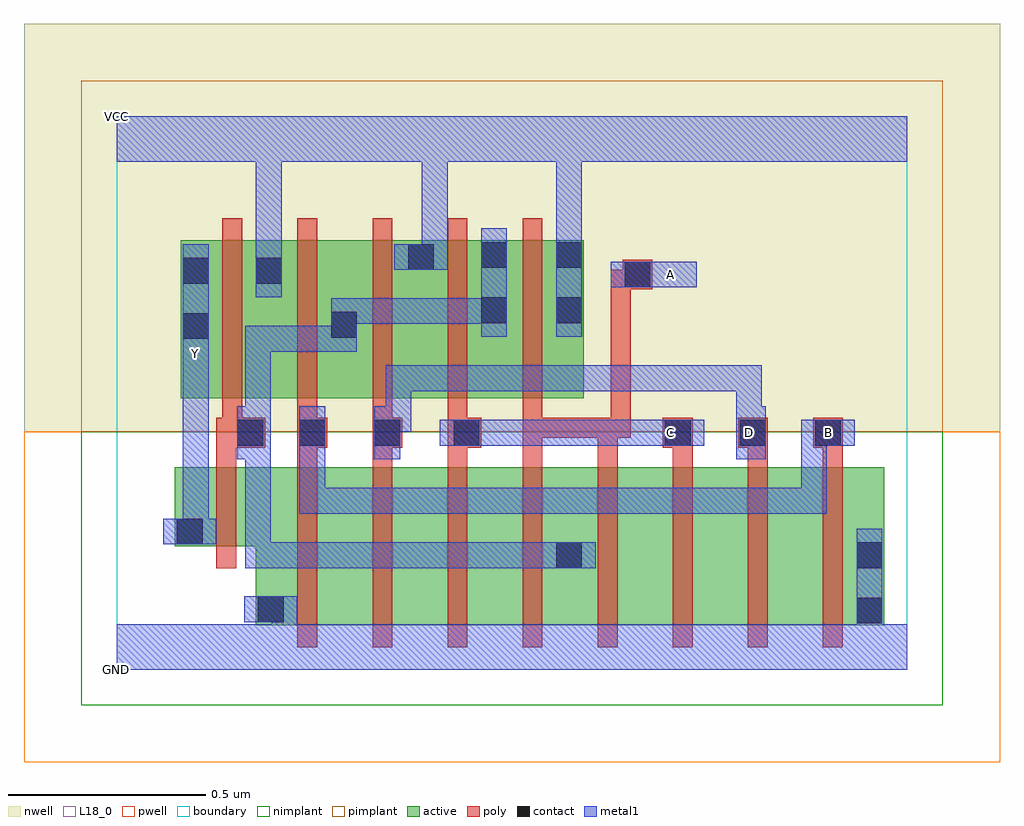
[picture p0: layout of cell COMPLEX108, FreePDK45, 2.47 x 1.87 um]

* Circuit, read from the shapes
.subckt COMPLEX108 A B C D GND VCC Y
M1 GND n1 Y VSUBS nfet w=0.2u l=0.05u
M2 n2 B GND VSUBS nfet w=0.4u l=0.05u
M3 n3 D n2 VSUBS nfet w=0.4u l=0.05u
M4 n4 C n3 VSUBS nfet w=0.4u l=0.05u
M5 n1 A n4 VSUBS nfet w=0.4u l=0.05u
M6 n5 A n1 VSUBS nfet w=0.4u l=0.05u
M7 n6 C n5 VSUBS nfet w=0.4u l=0.05u
M8 n7 D n6 VSUBS nfet w=0.4u l=0.05u
M9 GND B n7 VSUBS nfet w=0.4u l=0.05u
M10 VCC n1 Y n8 pfet w=0.4u l=0.05u
M11 n1 B VCC n8 pfet w=0.4u l=0.05u
M12 VCC D n1 n8 pfet w=0.4u l=0.05u
M13 n1 C VCC n8 pfet w=0.4u l=0.05u
M14 VCC A n1 n8 pfet w=0.4u l=0.05u
.ends

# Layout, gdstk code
import gdstk
lib = gdstk.Library(unit=1e-6, precision=1e-09)
def R(c, l, rs):  # rectangles x0, y0, x1, y1
    for r in rs: c.add(gdstk.rectangle(r[:2], r[2:], *l))
def A(c, l, x, y, w, h, nx, ny, dx, dy):  # array of equal rectangles
    R(c, l, [(x+i*dx, y+j*dy, x+i*dx+w, y+j*dy+h) for i in range(nx) for j in range(ny)])
active = (1, 0)
pwell = (2, 0)
nwell = (3, 0)
nimplant = (4, 0)
pimplant = (5, 0)
poly = (9, 0)
contact = (10, 0)
metal1 = (11, 0)
L18_0 = (18, 0)
boundary = (235, 0)

complex108 = lib.new_cell('COMPLEX108')
R(complex108, active, [(0.352,0.112,0.577,0.512), (0.352,0.112,0.427,0.312), (0.577,0.112,0.767,0.512), (0.767,0.112,0.957,0.512), (0.957,0.112,1.182,0.512), (1.107,0.112,1.337,0.512), (1.337,0.112,1.527,0.512), (1.527,0.112,1.717,0.512), (1.717,0.112,1.942,0.512), (1.867,0.112,1.942,0.512), (1.107,0.147,1.182,0.492), (0.147,0.312,0.222,0.512), (0.147,0.312,0.427,0.512), (0.162,0.687,0.237,1.087), (0.162,0.687,0.422,1.087), (0.347,0.687,0.612,1.087), (0.537,0.687,0.807,1.087), (0.537,0.687,0.612,1.067), (0.732,0.687,0.992,1.087), (0.917,0.687,1.182,1.087), (1.107,0.72,1.182,1.087), (0.347,0.802,0.422,1.067), (0.917,0.802,0.992,1.087), (0.732,0.907,0.807,1.087)])
R(complex108, pwell, [(-0.235,-0.235,2.235,0.602)])
R(complex108, nwell, [(-0.235,0.602,2.235,1.635)])
R(complex108, nimplant, [(-0.09,-0.09,2.09,0.602)])
R(complex108, pimplant, [(-0.09,0.602,2.09,1.49)])
A(complex108, poly, 0.457, 0.057, 0.05, 0.51, 8, 1, 0.19, 0)
A(complex108, poly, 0.457, 0.517, 0.05, 0.095, 3, 1, 0.19, 0)
A(complex108, poly, 1.407, 0.517, 0.05, 0.095, 3, 1, 0.19, 0)
A(complex108, poly, 1.382, 0.562, 0.075, 0.075, 3, 1, 0.19, 0)
A(complex108, poly, 0.267, 0.587, 0.05, 0.095, 5, 1, 0.19, 0)
A(complex108, poly, 0.267, 0.632, 0.05, 0.51, 5, 1, 0.19, 0)
R(complex108, poly, [(0.252,0.257,0.302,0.567), (0.252,0.517,0.302,0.612), (1.027,0.517,1.077,0.637), (1.217,0.517,1.267,0.637), (0.252,0.562,0.375,0.637), (0.457,0.562,0.532,0.637), (0.647,0.562,0.722,0.637), (0.837,0.562,0.922,0.637), (1.027,0.587,1.077,0.637), (1.027,0.587,1.077,0.637), (1.027,0.587,1.077,0.637), (1.027,0.587,1.267,0.637), (1.217,0.587,1.3,0.637), (1.25,0.587,1.3,1.012), (1.25,0.962,1.33,1.012), (1.28,0.962,1.355,1.037), (1.28,0.962,1.33,1.012)])
A(complex108, contact, 1.387, 0.567, 0.065, 0.065, 3, 1, 0.19, 0)
R(complex108, contact, [(1.872,0.117,1.937,0.182), (0.357,0.12,0.422,0.185), (1.112,0.257,1.177,0.322), (1.872,0.257,1.937,0.322), (0.152,0.317,0.217,0.382), (0.305,0.567,0.37,0.632), (0.462,0.567,0.527,0.632), (0.652,0.567,0.717,0.632), (0.852,0.567,0.917,0.632), (0.167,0.837,0.232,0.902), (0.542,0.84,0.607,0.905), (0.922,0.877,0.987,0.942), (1.112,0.877,1.177,0.942), (1.285,0.967,1.35,1.032), (0.167,0.977,0.232,1.042), (0.352,0.977,0.417,1.042), (0.737,1.012,0.802,1.077), (0.922,1.017,0.987,1.082), (1.112,1.017,1.177,1.082)])
R(complex108, metal1, [(0,0,2,0.115), (0.392,0.05,0.457,0.185), (1.872,0.05,1.937,0.147), (1.872,0.082,1.937,0.357), (0.322,0.12,0.457,0.185), (0.325,0.257,0.39,0.322), (0.325,0.257,0.527,0.322), (0.325,0.257,0.39,0.597), (0.462,0.257,0.527,0.322), (0.462,0.257,0.527,0.322), (0.462,0.257,0.527,0.322), (0.462,0.257,0.745,0.322), (0.68,0.257,0.745,0.322), (0.68,0.257,0.745,0.322), (0.68,0.257,0.745,0.322), (0.68,0.257,0.882,0.322), (0.817,0.257,0.882,0.322), (0.817,0.257,0.882,0.322), (0.817,0.257,0.882,0.322), (0.817,0.257,1.09,0.322), (1.025,0.257,1.09,0.322), (1.025,0.257,1.142,0.322), (1.077,0.257,1.212,0.322), (0.117,0.317,0.252,0.382), (0.167,0.317,0.232,0.797), (0.462,0.395,0.527,0.46), (0.462,0.395,0.692,0.46), (0.462,0.395,0.527,0.597), (0.627,0.395,0.692,0.46), (0.627,0.395,0.745,0.46), (0.68,0.395,0.745,0.46), (0.68,0.395,0.882,0.46), (0.817,0.395,0.882,0.46), (0.817,0.395,0.882,0.46), (0.817,0.395,0.882,0.46), (0.817,0.395,1.09,0.46), (1.025,0.395,1.09,0.46), (1.025,0.395,1.09,0.46), (1.025,0.395,1.09,0.46), (1.025,0.395,1.26,0.46), (1.195,0.395,1.26,0.46), (1.195,0.395,1.26,0.46), (1.195,0.395,1.26,0.46), (1.195,0.395,1.485,0.46), (1.42,0.395,1.485,0.46), (1.42,0.395,1.485,0.46), (1.42,0.395,1.485,0.46), (1.42,0.395,1.625,0.46), (1.56,0.395,1.625,0.46), (1.56,0.395,1.797,0.46), (1.732,0.395,1.797,0.46), (1.732,0.395,1.797,0.632), (0.305,0.532,0.37,0.667), (0.305,0.532,0.39,0.597), (0.325,0.532,0.39,0.597), (0.325,0.532,0.39,0.597), (0.325,0.532,0.39,0.597), (0.325,0.532,0.39,0.87), (0.462,0.532,0.527,0.597), (0.462,0.532,0.527,0.597), (0.462,0.532,0.527,0.667), (0.652,0.532,0.717,0.667), (1.567,0.532,1.642,0.667), (0.817,0.567,0.952,0.632), (0.887,0.567,0.952,0.632), (0.887,0.567,0.952,0.632), (0.887,0.567,1.09,0.632), (1.025,0.567,1.09,0.632), (1.025,0.567,1.122,0.632), (1.057,0.567,1.122,0.632), (1.057,0.567,1.227,0.632), (1.162,0.567,1.227,0.632), (1.162,0.567,1.347,0.632), (1.282,0.567,1.347,0.632), (1.282,0.567,1.397,0.632), (1.332,0.567,1.487,0.632), (1.732,0.567,1.797,0.632), (1.732,0.567,1.797,0.632), (1.732,0.567,1.867,0.632), (0.652,0.602,0.745,0.667), (0.68,0.602,0.745,0.667), (0.68,0.602,0.745,0.77), (1.567,0.602,1.632,0.667), (1.567,0.602,1.632,0.667), (1.567,0.602,1.632,0.77), (0.68,0.705,0.745,0.77), (0.68,0.705,0.882,0.77), (0.817,0.705,0.882,0.77), (0.817,0.705,0.882,0.77), (0.817,0.705,0.882,0.77), (0.817,0.705,1.09,0.77), (1.025,0.705,1.09,0.77), (1.025,0.705,1.122,0.77), (1.057,0.705,1.122,0.77), (1.057,0.705,1.26,0.77), (1.195,0.705,1.26,0.77), (1.195,0.705,1.347,0.77), (1.282,0.705,1.347,0.77), (1.282,0.705,1.397,0.77), (1.332,0.705,1.397,0.77), (1.332,0.705,1.632,0.77), (1.567,0.705,1.632,0.77), (0.167,0.732,0.232,0.867), (0.167,0.802,0.232,1.077), (0.167,0.802,0.232,0.867), (0.325,0.805,0.39,0.87), (0.325,0.805,0.555,0.87), (0.49,0.805,0.555,0.87), (0.49,0.805,0.607,0.87), (0.542,0.805,0.607,0.94), (0.922,0.842,0.987,1.117), (1.112,0.842,1.177,1.117), (0.542,0.875,0.607,0.94), (0.542,0.875,0.607,0.94), (0.542,0.875,0.745,0.94), (0.68,0.875,0.745,0.94), (0.68,0.875,0.745,0.94), (0.68,0.875,0.745,0.94), (0.68,0.875,0.882,0.94), (0.817,0.875,0.882,0.94), (0.817,0.875,0.987,0.94), (0.352,0.942,0.417,1.077), (1.25,0.967,1.467,1.032), (0.352,1.012,0.417,1.35), (0.702,1.012,0.837,1.077), (0.772,1.012,0.837,1.077), (0.772,1.012,0.837,1.077), (0.772,1.012,0.837,1.35), (1.112,1.052,1.177,1.35), (0,1.285,2,1.4), (0.352,1.285,0.417,1.35), (0.352,1.285,0.417,1.35), (1.112,1.285,1.177,1.35), (1.112,1.285,1.177,1.35)])
R(complex108, L18_0, [(0,0,2,0.115), (0.392,0.05,0.457,0.185), (1.872,0.05,1.937,0.147), (1.872,0.082,1.937,0.357), (0.322,0.12,0.457,0.185), (0.117,0.317,0.252,0.382), (0.167,0.317,0.232,0.797), (0.462,0.395,0.527,0.46), (0.462,0.395,0.527,0.597), (0.462,0.395,0.692,0.46), (0.627,0.395,0.692,0.46), (0.627,0.395,0.745,0.46), (0.68,0.395,0.745,0.46), (0.68,0.395,0.882,0.46), (0.817,0.395,0.882,0.46), (0.817,0.395,0.882,0.46), (0.817,0.395,0.882,0.46), (0.817,0.395,1.09,0.46), (1.025,0.395,1.09,0.46), (1.025,0.395,1.09,0.46), (1.025,0.395,1.09,0.46), (1.025,0.395,1.26,0.46), (1.195,0.395,1.26,0.46), (1.195,0.395,1.26,0.46), (1.195,0.395,1.26,0.46), (1.195,0.395,1.485,0.46), (1.42,0.395,1.485,0.46), (1.42,0.395,1.485,0.46), (1.42,0.395,1.485,0.46), (1.42,0.395,1.625,0.46), (1.56,0.395,1.625,0.46), (1.56,0.395,1.797,0.46), (1.732,0.395,1.797,0.46), (1.732,0.395,1.797,0.632), (0.462,0.532,0.527,0.667), (0.462,0.532,0.527,0.597), (0.462,0.532,0.527,0.597), (0.652,0.532,0.717,0.667), (1.567,0.532,1.642,0.667), (0.817,0.567,0.952,0.632), (0.887,0.567,0.952,0.632), (0.887,0.567,0.952,0.632), (0.887,0.567,1.09,0.632), (1.025,0.567,1.09,0.632), (1.025,0.567,1.122,0.632), (1.057,0.567,1.122,0.632), (1.057,0.567,1.227,0.632), (1.162,0.567,1.227,0.632), (1.162,0.567,1.347,0.632), (1.282,0.567,1.347,0.632), (1.282,0.567,1.397,0.632), (1.332,0.567,1.487,0.632), (1.367,0.567,1.432,0.632), (1.567,0.567,1.632,0.632), (1.732,0.567,1.867,0.632), (1.732,0.567,1.797,0.632), (1.732,0.567,1.797,0.632), (1.767,0.567,1.832,0.632), (0.652,0.602,0.745,0.667), (0.68,0.602,0.745,0.667), (0.68,0.602,0.745,0.77), (1.567,0.602,1.632,0.667), (1.567,0.602,1.632,0.667), (1.567,0.602,1.632,0.77), (0.68,0.705,0.745,0.77), (0.68,0.705,0.882,0.77), (0.817,0.705,0.882,0.77), (0.817,0.705,0.882,0.77), (0.817,0.705,0.882,0.77), (0.817,0.705,1.09,0.77), (1.025,0.705,1.09,0.77), (1.025,0.705,1.122,0.77), (1.057,0.705,1.122,0.77), (1.057,0.705,1.26,0.77), (1.195,0.705,1.26,0.77), (1.195,0.705,1.347,0.77), (1.282,0.705,1.347,0.77), (1.282,0.705,1.397,0.77), (1.332,0.705,1.397,0.77), (1.332,0.705,1.632,0.77), (1.567,0.705,1.632,0.77), (0.167,0.732,0.232,0.867), (0.167,0.767,0.232,0.832), (0.167,0.802,0.232,1.077), (0.167,0.802,0.232,0.867), (1.112,0.842,1.177,1.117), (0.352,0.942,0.417,1.077), (1.25,0.967,1.467,1.032), (1.367,0.967,1.432,1.032), (0.352,1.012,0.417,1.35), (0.702,1.012,0.837,1.077), (0.772,1.012,0.837,1.077), (0.772,1.012,0.837,1.077), (0.772,1.012,0.837,1.35), (1.112,1.052,1.177,1.35), (0,1.285,2,1.4), (0.352,1.285,0.417,1.35), (0.352,1.285,0.417,1.35), (1.112,1.285,1.177,1.35), (1.112,1.285,1.177,1.35)])
R(complex108, boundary, [(0,0,2,1.4)])
complex108.add(gdstk.Label('A', (1.4,1), layer=11, texttype=0))
complex108.add(gdstk.Label('B', (1.8,0.6), layer=11, texttype=0))
complex108.add(gdstk.Label('C', (1.4,0.6), layer=11, texttype=0))
complex108.add(gdstk.Label('D', (1.6,0.6), layer=11, texttype=0))
complex108.add(gdstk.Label('Y', (0.2,0.8), layer=11, texttype=0))
complex108.add(gdstk.Label('VCC', (0,1.4), layer=11, texttype=0))
complex108.add(gdstk.Label('GND', (0,0), layer=11, texttype=0))

lib.write_gds('COMPLEX108.gds')
